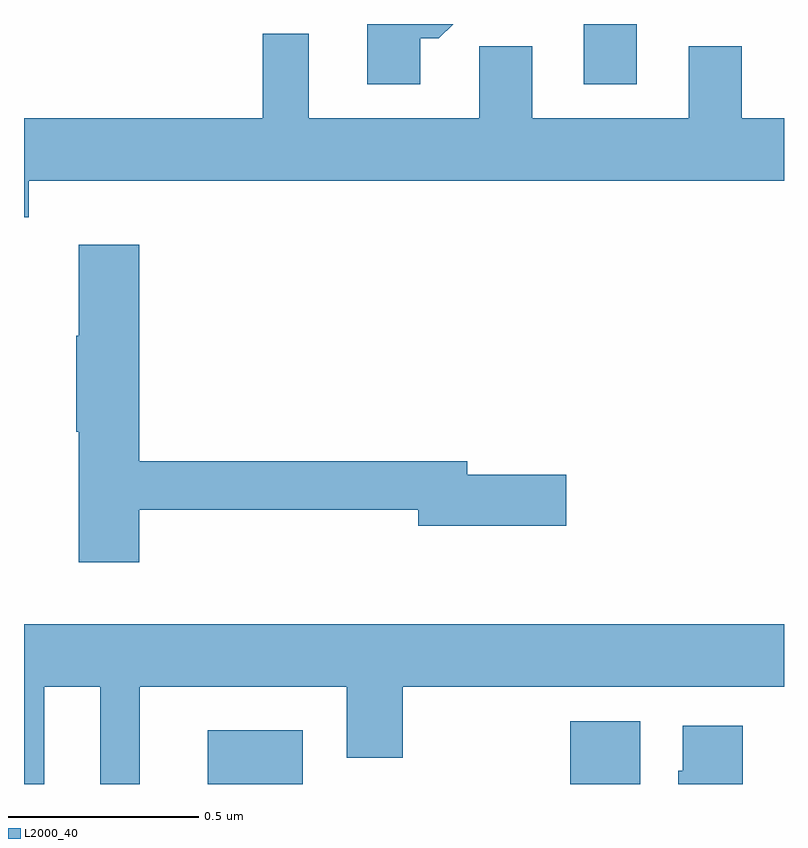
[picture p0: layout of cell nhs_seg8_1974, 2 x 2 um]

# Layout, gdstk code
import gdstk
lib = gdstk.Library(unit=1e-6, precision=1e-09)
def R(c, l, rs):  # rectangles x0, y0, x1, y1
    for r in rs: c.add(gdstk.rectangle(r[:2], r[2:], *l))
def P(c, l, *ps):  # polygons
    for p in ps: c.add(gdstk.Polygon(p, *l))
L2000_40 = (2000, 40)

nhs_seg8_1974 = lib.new_cell('nhs_seg8_1974')
R(nhs_seg8_1974, L2000_40, [(137.483,1126.9,137.734,1127.041), (138.437,1126.9,138.622,1127.065), (138.473,1128.741,138.613,1128.9)])
P(nhs_seg8_1974, L2000_40, [(138.043,1128.863),(138.092,1128.863),(138.129,1128.9),(137.903,1128.9),(137.903,1128.741),(138.043,1128.741)],
  [(139,1128.652),(138.889,1128.652),(138.889,1128.842),(138.749,1128.842),(138.749,1128.652),(138.337,1128.652),(138.337,1128.842),(138.198,1128.842),(138.198,1128.652),(137.749,1128.652),(137.749,1128.874),(137.628,1128.874),(137.628,1128.652),(137,1128.652),(137,1128.392),(137.012,1128.392),(137.012,1128.488),(139,1128.488)],
  [(137.303,1127.622),(138.038,1127.622),(138.038,1127.579),(138.427,1127.579),(138.427,1127.714),(138.166,1127.714),(138.166,1127.75),(137.303,1127.75),(137.303,1128.319),(137.144,1128.319),(137.144,1128.08),(137.137,1128.08),(137.137,1127.827),(137.144,1127.827),(137.144,1127.484),(137.303,1127.484)],
  [(137.053,1127.156),(137.201,1127.156),(137.201,1126.9),(137.305,1126.9),(137.305,1127.156),(137.849,1127.156),(137.849,1126.969),(137.997,1126.969),(137.997,1127.156),(139,1127.156),(139,1127.32),(137,1127.32),(137,1126.9),(137.053,1126.9)],
  [(138.892,1127.053),(138.734,1127.053),(138.734,1126.935),(138.722,1126.935),(138.722,1126.9),(138.892,1126.9)])

lib.write_gds('nhs_seg8_1974.gds')
